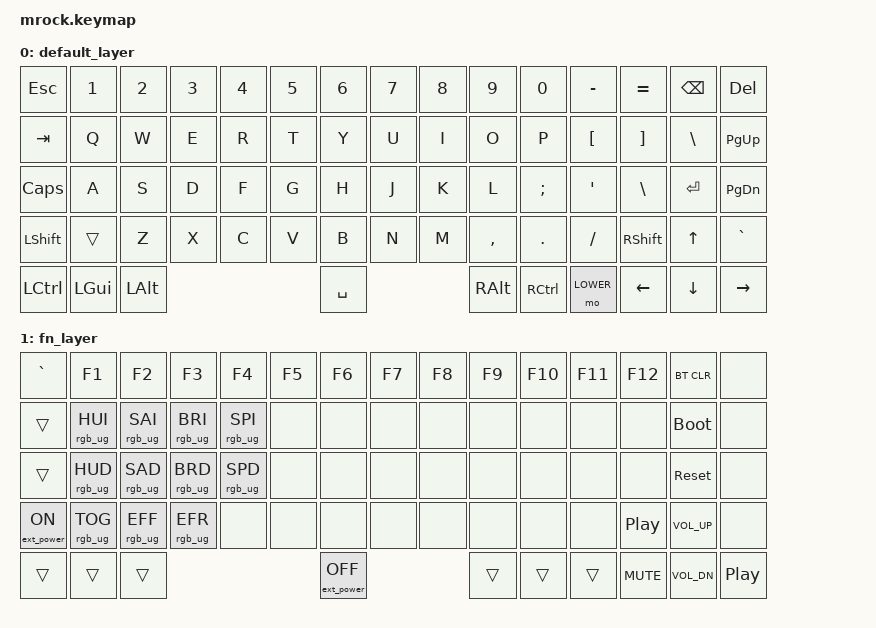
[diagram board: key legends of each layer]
/*
 * Copyright (c) 2020 The ZMK Contributors
 *
 * SPDX-License-Identifier: MIT
 */

#include <behaviors.dtsi>
#include <dt-bindings/zmk/keys.h>
#include <dt-bindings/zmk/bt.h>
#include <dt-bindings/zmk/ext_power.h>
#include <dt-bindings/zmk/rgb.h>

#define DEFAULT 0
#define LOWER   1
/ {
	keymap {
		compatible = "zmk,keymap";

		default_layer {
		
			bindings = <
	&kp ESC   &kp N1          &kp N2 &kp N3 &kp N4 &kp N5 &kp N6 &kp N7 &kp N8 &kp  N9   &kp N0    &kp MINUS &kp EQUAL &kp BSPC &kp DEL
	&kp TAB   &kp Q           &kp W  &kp E  &kp R  &kp T  &kp Y  &kp U  &kp I  &kp  O    &kp P     &kp LBKT  &kp RBKT  &kp BSLH &kp PG_UP
	&kp CLCK  &kp A           &kp S  &kp D  &kp F  &kp G  &kp H  &kp J  &kp K  &kp  L    &kp SEMI  &kp SQT   &kp BSLH  &kp RET  &kp PG_DN
	&kp LSHFT &trans &kp Z    &kp X  &kp C  &kp V  &kp B  &kp N  &kp M  &kp COMMA &kp DOT   &kp FSLH     &kp RSHFT     &kp UP   &kp GRAVE
	&kp LCTRL &kp LGUI        &kp LALT                    &kp SPACE            &kp RALT  &kp RCTRL &mo LOWER &kp LEFT  &kp DOWN &kp RIGHT
			>;
		};

		fn_layer {
			bindings = <
&kp GRAVE        &kp F1          &kp F2          &kp F3           &kp F4          &kp F5  &kp F6  &kp F7   &kp F8  &kp F9    &kp F10 &kp F11 &kp F12    &bt BT_CLR   &none 
&trans           &rgb_ug RGB_HUI &rgb_ug RGB_SAI &rgb_ug RGB_BRI  &rgb_ug RGB_SPI &none   &none   &none    &none   &none     &none   &none   &none      &bootloader  &none 
&trans           &rgb_ug RGB_HUD &rgb_ug RGB_SAD &rgb_ug RGB_BRD  &rgb_ug RGB_SPD &none   &none   &none    &none   &none     &none   &none   &none      &sys_reset   &none 
&ext_power EP_ON &rgb_ug RGB_TOG &rgb_ug RGB_EFF &rgb_ug RGB_EFR  &none           &none   &none   &none    &none   &none     &none   &none   &kp C_PP   &kp C_VOL_UP &none
&trans  &trans  &trans                                     &ext_power EP_OFF                                       &trans    &trans  &trans  &kp K_MUTE &kp C_VOL_DN &kp C_PLAY_PAUSE
			>;
		};
	};
};

